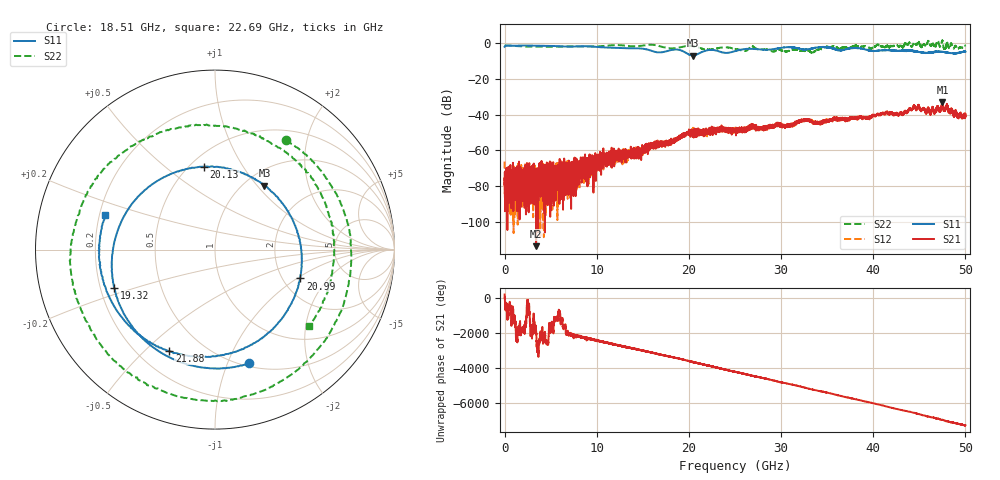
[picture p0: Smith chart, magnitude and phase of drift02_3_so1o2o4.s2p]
!Created with skrf (http://scikit-rf.org).
# Hz S RI R 50.0
!freq ReS11 ImS11 ReS21 ImS21 ReS12 ImS12 ReS22 ImS22
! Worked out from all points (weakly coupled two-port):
!   10001 points, 300 kHz to 50 GHz, reference 50 ohm
!   highest |S21| = -33.18 dB at 47.51 GHz (marker M1); lowest = -113.5 dB at 3.42 GHz (marker M2)
!   lowest |S11| = -6.9 dB at 20.45 GHz (marker M3), VSWR 2.63, Z = 61.3 + j54.6 ohm
!   |S11| at or under -10 dB: nowhere
!   |S22| runs from -5.4 to 1.5 dB; largest |S21 - S12| = 0.004
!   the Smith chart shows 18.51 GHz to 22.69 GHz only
!   S11 on the Smith chart (normalised r, x): 18.51 GHz: 0.53, -1.20; 19.32 GHz: 0.26, -0.17; 20.13 GHz: 0.59, +0.69; 20.99 GHz: 2.48, -1.07; 21.88 GHz: 0.32, -0.60; 22.69 GHz: 0.22, +0.15
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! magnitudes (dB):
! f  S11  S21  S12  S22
! 300 kHz  -2.1  -75.7  -66.2  -1.3
! 255.3 MHz  -1.4  -77.1  -76.2  -1.4
! 3.42 GHz  -1.5  -113.5  -79.6  -2.0
! 3.925 GHz  -1.5  -67.5  -66.5  -2.0
! 4.43 GHz  -1.6  -82.4  -86.1  -2.0
! 6.775 GHz  -1.9  -72.7  -76.3  -1.9
! 8.335 GHz  -1.7  -72.6  -69.5  -1.9
! 16.67 GHz  -5.2  -57.3  -56.5  -1.5
! 18.51 GHz  -3.6  -53.9  -54.7  -2.8
! 19.32 GHz  -4.4  -51.8  -51.9  -2.1
! 20.13 GHz  -6.6  -49.7  -50.8  -1.5
! 20.45 GHz  -6.9  -49.0  -48.8  -1.8
! 20.99 GHz  -6.0  -50.0  -50.8  -2.3
! 21.88 GHz  -4.1  -49.4  -49.4  -3.5
! 22.69 GHz  -3.9  -48.8  -48.9  -3.4
! 25 GHz  -4.5  -49.2  -48.4  -3.3
! 26.89 GHz  -3.2  -46.1  -47.4  -1.7
! 33.34 GHz  -3.0  -44.2  -43.6  -5.3
! 34.9 GHz  -2.2  -43.9  -44.0  -2.2
! 41.67 GHz  -4.0  -39.2  -39.1  -2.0
! 47.51 GHz  -4.9  -33.2  -33.8  1.2
! 50 GHz  -4.7  -41.0  -40.5  -1.4
